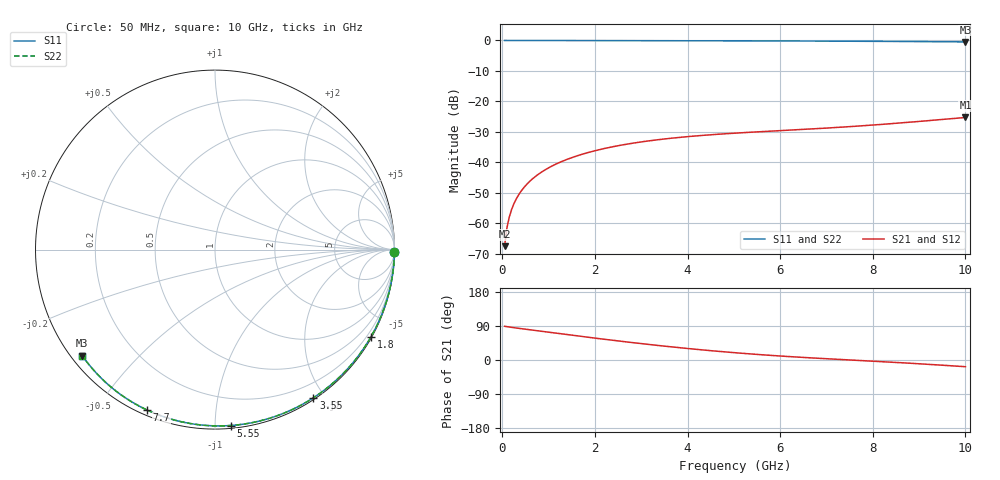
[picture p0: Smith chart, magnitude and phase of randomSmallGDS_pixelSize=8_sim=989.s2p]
! freq	dB(S11)	phase(S11)	dB(S12)	phase(S12)
!  dB(S21)	phase(S21)	dB(S22)	phase(S22)
!S-par simulation data
#  GHz  S  DB  R 50
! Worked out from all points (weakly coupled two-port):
!   200 points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, 50 MHz to 10 GHz, reference 50 ohm
!   highest |S21| = -25.27 dB at 10 GHz (marker M1); lowest = -67.5 dB at 50 MHz (marker M2)
!   lowest |S11| = -0.5 dB at 10 GHz (marker M3), VSWR 36.60, Z = 1.53 - j17.5 ohm
!   |S11| at or under -10 dB: nowhere
!   |S22| runs from -0.5 to 0.0 dB; largest |S21 - S12| = 0
!   S11 on the Smith chart (normalised r, x): 50 MHz: open; 1.8 GHz: 0.03, -3.82; 3.55 GHz: 0.02, -1.87; 5.55 GHz: 0.02, -1.09; 7.7 GHz: 0.02, -0.66; 10 GHz: 0.03, -0.35
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0.05  -0.00 -0.8  -67.51 88.9  -67.51 88.9  -0.00 -0.8
0.1  -0.00 -1.7  -61.50 87.9  -61.50 87.9  -0.00 -1.7
0.15  -0.00 -2.5  -58.01 87.0  -58.01 87.0  -0.00 -2.5
0.2  -0.00 -3.3  -55.53 86.1  -55.53 86.1  -0.00 -3.3
0.25  -0.00 -4.1  -53.62 85.3  -53.62 85.3  -0.00 -4.1
0.35  -0.00 -5.8  -50.74 83.6  -50.74 83.6  -0.00 -5.8
0.5  -0.01 -8.3  -47.68 81.3  -47.68 81.3  -0.01 -8.3
0.7  -0.01 -11.5  -44.81 78.1  -44.81 78.1  -0.01 -11.5
1  -0.02 -16.4  -41.80 73.3  -41.80 73.3  -0.02 -16.4
1.35  -0.03 -22.1  -39.31 67.8  -39.31 67.8  -0.03 -22.1
1.75  -0.04 -28.5  -37.23 61.6  -37.23 61.6  -0.04 -28.5
1.8  -0.04 -29.3  -37.00 60.8  -37.00 60.8  -0.04 -29.3
2.5  -0.05 -40.4  -34.54 50.3  -34.54 50.3  -0.05 -40.4
3.4  -0.07 -54.1  -32.50 37.9  -32.50 37.9  -0.07 -54.1
3.55  -0.08 -56.4  -32.24 35.9  -32.24 35.9  -0.08 -56.4
4.3  -0.10 -67.4  -31.18 26.9  -31.18 26.9  -0.10 -67.4
5.05  -0.12 -78.0  -30.39 18.9  -30.39 18.9  -0.12 -78.0
5.55  -0.14 -84.9  -29.96 14.3  -29.96 14.3  -0.14 -84.9
6.7  -0.20 -100.2  -29.02 5.4  -29.02 5.4  -0.20 -100.2
7.7  -0.26 -113.0  -28.08 -1.2  -28.08 -1.2  -0.26 -113.0
8.35  -0.31 -121.1  -27.36 -5.4  -27.36 -5.4  -0.31 -121.1
10  -0.47 -141.3  -25.27 -17.7  -25.27 -17.7  -0.47 -141.3
